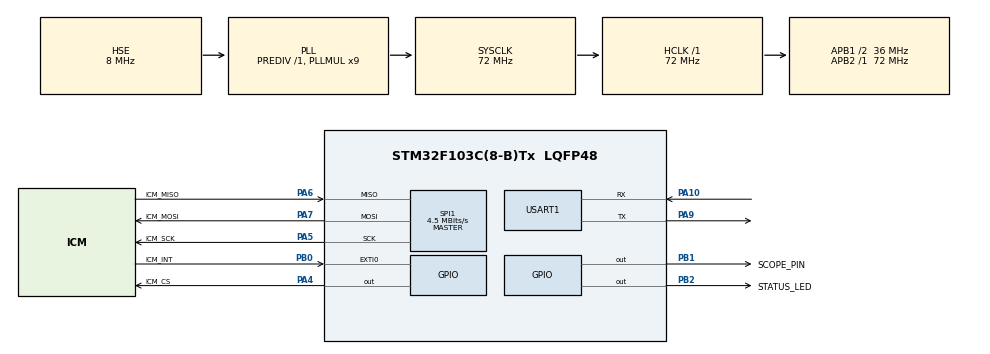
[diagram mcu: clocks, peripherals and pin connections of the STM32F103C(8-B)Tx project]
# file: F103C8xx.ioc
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Dma.Request0=SPI1_RX
Dma.Request1=SPI1_TX
Dma.Request2=USART1_TX
Dma.SPI1_RX.0.Direction=DMA_PERIPH_TO_MEMORY
Dma.SPI1_RX.0.Instance=DMA1_Channel2
Dma.SPI1_RX.0.MemDataAlignment=DMA_MDATAALIGN_BYTE
Dma.SPI1_RX.0.MemInc=DMA_MINC_ENABLE
Dma.SPI1_RX.0.Mode=DMA_NORMAL
Dma.SPI1_RX.0.PeriphDataAlignment=DMA_PDATAALIGN_BYTE
Dma.SPI1_RX.0.PeriphInc=DMA_PINC_DISABLE
Dma.SPI1_RX.0.Priority=DMA_PRIORITY_LOW
Dma.SPI1_TX.1.Direction=DMA_MEMORY_TO_PERIPH
Dma.SPI1_TX.1.Instance=DMA1_Channel3
Dma.SPI1_TX.1.MemDataAlignment=DMA_MDATAALIGN_BYTE
Dma.SPI1_TX.1.MemInc=DMA_MINC_ENABLE
Dma.SPI1_TX.1.Mode=DMA_NORMAL
Dma.SPI1_TX.1.PeriphDataAlignment=DMA_PDATAALIGN_BYTE
Dma.SPI1_TX.1.PeriphInc=DMA_PINC_DISABLE
Dma.SPI1_TX.1.Priority=DMA_PRIORITY_LOW
Dma.USART1_TX.2.Direction=DMA_MEMORY_TO_PERIPH
Dma.USART1_TX.2.Instance=DMA1_Channel4
Dma.USART1_TX.2.MemDataAlignment=DMA_MDATAALIGN_BYTE
Dma.USART1_TX.2.MemInc=DMA_MINC_ENABLE
Dma.USART1_TX.2.Mode=DMA_NORMAL
Dma.USART1_TX.2.PeriphDataAlignment=DMA_PDATAALIGN_BYTE
Dma.USART1_TX.2.PeriphInc=DMA_PINC_DISABLE
Dma.USART1_TX.2.Priority=DMA_PRIORITY_LOW
Mcu.Family=STM32F1
Mcu.Name=STM32F103C(8-B)Tx
Mcu.Package=LQFP48
NVIC.DMA1_Channel2_IRQn=true\:0\:0\:false\:false\:true\:false
NVIC.DMA1_Channel3_IRQn=true\:0\:0\:false\:false\:true\:false
NVIC.DMA1_Channel4_IRQn=true\:0\:0\:false\:false\:true\:false
NVIC.PriorityGroup=NVIC_PRIORITYGROUP_4
PA10.Mode=Asynchronous
PA10.Signal=USART1_RX
PA13.Mode=Serial_Wire
PA13.Signal=SYS_JTMS-SWDIO
PA14.Mode=Serial_Wire
PA14.Signal=SYS_JTCK-SWCLK
PA4.GPIO_Label=ICM_CS
PA4.Signal=GPIO_Output
PA5.GPIO_Label=ICM_SCK
PA5.Mode=Full_Duplex_Master
PA5.Signal=SPI1_SCK
PA6.GPIO_Label=ICM_MISO
PA6.Mode=Full_Duplex_Master
PA6.Signal=SPI1_MISO
PA7.GPIO_Label=ICM_MOSI
PA7.Mode=Full_Duplex_Master
PA7.Signal=SPI1_MOSI
PA9.Mode=Asynchronous
PA9.Signal=USART1_TX
PB0.GPIO_Label=ICM_INT
PB0.Signal=GPXTI0
PB1.GPIO_Label=SCOPE_PIN
PB1.Signal=GPIO_Output
PB2.GPIO_Label=STATUS_LED
PB2.Signal=GPIO_Output
PC14-OSC32_IN.Mode=LSE-External-Oscillator
PC14-OSC32_IN.Signal=RCC_OSC32_IN
PC15-OSC32_OUT.Mode=LSE-External-Oscillator
PC15-OSC32_OUT.Signal=RCC_OSC32_OUT
PD0-OSC_IN.Mode=HSE-External-Oscillator
PD0-OSC_IN.Signal=RCC_OSC_IN
PD1-OSC_OUT.Mode=HSE-External-Oscillator
PD1-OSC_OUT.Signal=RCC_OSC_OUT
ProjectManager.HeapSize=0x200
ProjectManager.StackSize=0x400
ProjectManager.TargetToolchain=SW4STM32
RCC.AHBFreq_Value=72000000
RCC.APB1CLKDivider=RCC_HCLK_DIV2
RCC.APB1Freq_Value=36000000
RCC.APB1TimFreq_Value=72000000
RCC.APB2Freq_Value=72000000
RCC.APB2TimFreq_Value=72000000
RCC.HCLKFreq_Value=72000000
RCC.PLLMUL=RCC_PLL_MUL9
RCC.PLLSourceVirtual=RCC_PLLSOURCE_HSE
RCC.SYSCLKFreq_VALUE=72000000
RCC.SYSCLKSource=RCC_SYSCLKSOURCE_PLLCLK
RCC.USBFreq_Value=72000000
SPI1.BaudRatePrescaler=SPI_BAUDRATEPRESCALER_16
SPI1.CLKPhase=SPI_PHASE_2EDGE
SPI1.CLKPolarity=SPI_POLARITY_HIGH
SPI1.CalculateBaudRate=4.5 MBits/s
SPI1.Direction=SPI_DIRECTION_2LINES
SPI1.Mode=SPI_MODE_MASTER
SPI1.VirtualType=VM_MASTER
USART1.VirtualMode=VM_ASYNC
board=custom

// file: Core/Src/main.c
/**
  ******************************************************************************
  * @file           : main.c
  * @brief          : Main program body
  ******************************************************************************
  ** This notice applies to any and all portions of this file
  * that are not between comment pairs USER CODE BEGIN and
  * USER CODE END. Other portions of this file, whether
  * inserted by the user or by software development tools
  * are owned by their respective copyright owners.
  *
  * COPYRIGHT(c) 2018 STMicroelectronics
  *
  * Redistribution and use in source and binary forms, with or without modification,
  * are permitted provided that the following conditions are met:
  *   1. Redistributions of source code must retain the above copyright notice,
  *      this list of conditions and the following disclaimer.
  *   2. Redistributions in binary form must reproduce the above copyright notice,
  *      this list of conditions and the following disclaimer in the documentation
  *      and/or other materials provided with the distribution.
  *   3. Neither the name of STMicroelectronics nor the names of its contributors
  *      may be used to endorse or promote products derived from this software
  *      without specific prior written permission.
  *
  * THIS SOFTWARE IS PROVIDED BY THE COPYRIGHT HOLDERS AND CONTRIBUTORS "AS IS"
  * AND ANY EXPRESS OR IMPLIED WARRANTIES, INCLUDING, BUT NOT LIMITED TO, THE
  * IMPLIED WARRANTIES OF MERCHANTABILITY AND FITNESS FOR A PARTICULAR PURPOSE ARE
  * DISCLAIMED. IN NO EVENT SHALL THE COPYRIGHT HOLDER OR CONTRIBUTORS BE LIABLE
  * FOR ANY DIRECT, INDIRECT, INCIDENTAL, SPECIAL, EXEMPLARY, OR CONSEQUENTIAL
  * DAMAGES (INCLUDING, BUT NOT LIMITED TO, PROCUREMENT OF SUBSTITUTE GOODS OR
  * SERVICES; LOSS OF USE, DATA, OR PROFITS; OR BUSINESS INTERRUPTION) HOWEVER
  * CAUSED AND ON ANY THEORY OF LIABILITY, WHETHER IN CONTRACT, STRICT LIABILITY,
  * OR TORT (INCLUDING NEGLIGENCE OR OTHERWISE) ARISING IN ANY WAY OUT OF THE USE
  * OF THIS SOFTWARE, EVEN IF ADVISED OF THE POSSIBILITY OF SUCH DAMAGE.
  *
  ******************************************************************************
  */
#include "main.h"
#include "stm32f1xx_hal.h"
#include "dma.h"
#include "spi.h"
#include "usart.h"
#include "gpio.h"

/* USER CODE BEGIN Includes */
#include <string.h>
#include "ICM20948.h"

/* USER CODE END Includes */

/* USER CODE BEGIN PV */
/* Private variables ---------------------------------------------------------*/

/* USER CODE END PV */

void SystemClock_Config(void);

/* USER CODE BEGIN PFP */
/* Private function prototypes -----------------------------------------------*/

/* USER CODE END PFP */

int main(void)
{
  /* USER CODE BEGIN 1 */
	char uart_buffer[200];
  /* USER CODE END 1 */

  /* MCU Configuration----------------------------------------------------------*/

  /* Reset of all peripherals, Initializes the Flash interface and the Systick. */
  HAL_Init();

  /* Configure the system clock */
  SystemClock_Config();

  /* Initialize all configured peripherals */
  MX_GPIO_Init();
  MX_DMA_Init();
  MX_SPI1_Init();
  MX_USART1_UART_Init();
  /* USER CODE BEGIN 2 */
	ICM_SelectBank(USER_BANK_0);
	HAL_Delay(10);
	ICM_PowerOn();
	HAL_Delay(10);
  /* USER CODE END 2 */

  /* Infinite loop */
  /* USER CODE BEGIN WHILE */
	while (1) {

		// Select User Bank 0
		ICM_SelectBank(USER_BANK_0);
		HAL_Delay(10);

		// Obtain accelerometer and gyro data
		ICM_ReadAccelGyroData();

		// Obtain magnetometer data
		int16_t mag_data[3];
		ICM_ReadMagData(mag_data);

		// Print raw, but joined, axis data values to screen
		sprintf(uart_buffer,
				"(Ax: %u | Ay: %u | Az: %u)   "
				"(Gx: %u | Gy: %u | Gz: %u)   "
				"(Mx: %i | My: %i | Mz: %i)"
				" \r\n",
				accel_data[0], accel_data[1], accel_data[2],
				gyro_data[0], gyro_data[1], gyro_data[2],
				mag_data[0], mag_data[1], mag_data[2]);
		HAL_UART_Transmit(&huart1, (uint8_t*) uart_buffer, strlen(uart_buffer), 1000);
		HAL_Delay(5);
  /* USER CODE END WHILE */

	}

}

void SystemClock_Config(void)
{

  RCC_OscInitTypeDef RCC_OscInitStruct;
  RCC_ClkInitTypeDef RCC_ClkInitStruct;

    /**Initializes the CPU, AHB and APB busses clocks
    */
  RCC_OscInitStruct.OscillatorType = RCC_OSCILLATORTYPE_HSE;
  RCC_OscInitStruct.HSEState = RCC_HSE_ON;
  RCC_OscInitStruct.HSEPredivValue = RCC_HSE_PREDIV_DIV1;
  RCC_OscInitStruct.HSIState = RCC_HSI_ON;
  RCC_OscInitStruct.PLL.PLLState = RCC_PLL_ON;
  RCC_OscInitStruct.PLL.PLLSource = RCC_PLLSOURCE_HSE;
  RCC_OscInitStruct.PLL.PLLMUL = RCC_PLL_MUL9;
  if (HAL_RCC_OscConfig(&RCC_OscInitStruct) != HAL_OK)
  {
    _Error_Handler(__FILE__, __LINE__);
  }

    /**Initializes the CPU, AHB and APB busses clocks
    */
  RCC_ClkInitStruct.ClockType = RCC_CLOCKTYPE_HCLK|RCC_CLOCKTYPE_SYSCLK
                              |RCC_CLOCKTYPE_PCLK1|RCC_CLOCKTYPE_PCLK2;
  RCC_ClkInitStruct.SYSCLKSource = RCC_SYSCLKSOURCE_PLLCLK;
  RCC_ClkInitStruct.AHBCLKDivider = RCC_SYSCLK_DIV1;
  RCC_ClkInitStruct.APB1CLKDivider = RCC_HCLK_DIV2;
  RCC_ClkInitStruct.APB2CLKDivider = RCC_HCLK_DIV1;

  if (HAL_RCC_ClockConfig(&RCC_ClkInitStruct, FLASH_LATENCY_2) != HAL_OK)
  {
    _Error_Handler(__FILE__, __LINE__);
  }

    /**Configure the Systick interrupt time
    */
  HAL_SYSTICK_Config(HAL_RCC_GetHCLKFreq()/1000);

    /**Configure the Systick
    */
  HAL_SYSTICK_CLKSourceConfig(SYSTICK_CLKSOURCE_HCLK);

  /* SysTick_IRQn interrupt configuration */
  HAL_NVIC_SetPriority(SysTick_IRQn, 0, 0);
}

void _Error_Handler(char *file, int line)
{
	while (1) {
	}
}

/************************ (C) COPYRIGHT STMicroelectronics *****END OF FILE****/
